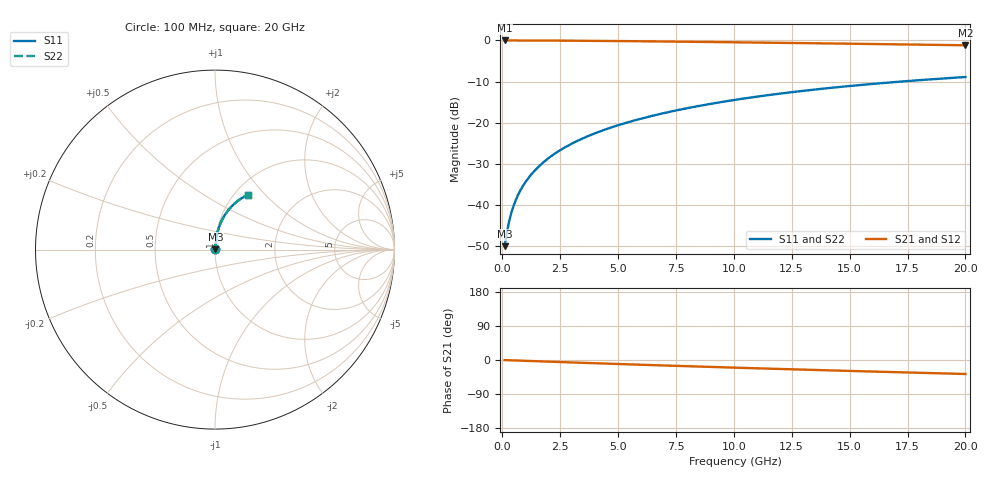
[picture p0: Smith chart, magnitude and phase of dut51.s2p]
! Touchstone file exported from HFSS 2024.1.0
!  File:  C:/UserFiles/LocalFiles/RDL_TSV_Batchsim/temp_RDL_bottom_51_1778692980.aedt
!  Generated:  01:25:32 AM May 14, 2026
!  Design:  RDL_bottom
!  Project:  temp_RDL_bottom_51_1778692980
!  Setup:  Setup1
!  Solution:  Sweep
! Variables:
!  dtsv = 10.80580581um
!  hbump = 3um
!  htsv = 95.76um
!  ldown = 514.95um
!  lrdl = 100um
!  p = 40
!  p1 = 46.85um
!  rhole = 1um
!  t = 450um
!  tdown = 4.33um
!  trdl = 3.915915916um
!  wdown = 18.19um
!  wrdl = 20um
# GHz S MA R 50.000000
! Terminal data exported
! Port[1] = RDL1_T1
! Port[2] = RDL1_T2
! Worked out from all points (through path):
!   200 points, 100 MHz to 20 GHz, reference 50 ohm
!   highest |S21| = -0.02 dB at 100 MHz (marker M1); lowest = -1.2 dB at 20 GHz (marker M2)
!   group delay of S21, straight-line fit = 5.1 ps
!   lowest |S11| = -50.0 dB at 100 MHz (marker M3), VSWR 1.01, Z = 50.2 + j0.2 ohm
!   |S11| at or under -10 dB: start of sweep to 17.24 GHz
!   |S22| runs from -50.0 to -8.9 dB; largest |S21 - S12| = 4.4e-15
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0.1  0.00316 39.0  0.9975 -0.2  0.9975 -0.2  0.00316 39.0
! Gamma 0 0 0 0
! Port Impedance 50 0 50 0
0.2  0.004695 57.1  0.9974 -0.4  0.9974 -0.4  0.004695 57.1
0.3  0.006435 65.5  0.9973 -0.7  0.9973 -0.7  0.006435 65.5
0.4  0.008218 70.1  0.9971 -0.9  0.9971 -0.9  0.008218 70.1
0.5  0.01001 73.0  0.997 -1.1  0.997 -1.1  0.01001 73.0
0.6  0.01179 75.1  0.9969 -1.3  0.9969 -1.3  0.01179 75.1
0.8  0.01537 77.8  0.9966 -1.8  0.9966 -1.8  0.01537 77.8
1.1  0.02076 80.1  0.9961 -2.4  0.9961 -2.4  0.02076 80.1
1.5  0.028 81.8  0.9954 -3.3  0.9954 -3.3  0.028 81.8
1.8  0.03347 82.5  0.9947 -3.9  0.9947 -3.9  0.03347 82.5
2.1  0.03897 82.9  0.9938 -4.5  0.9938 -4.5  0.03897 82.9
2.7  0.05002 83.2  0.9919 -5.8  0.9919 -5.8  0.05002 83.2
3.5  0.06488 83.1  0.9887 -7.5  0.9887 -7.5  0.06488 83.0
4.2  0.07799 82.6  0.9854 -8.9  0.9854 -8.9  0.07799 82.6
5  0.09307 81.9  0.9811 -10.6  0.9811 -10.6  0.09307 81.9
5.9  0.1102 81.0  0.9759 -12.4  0.9759 -12.4  0.1102 81.0
6.8  0.1273 79.8  0.9703 -14.1  0.9703 -14.1  0.1273 79.8
8.4  0.1579 77.6  0.9596 -17.2  0.9596 -17.2  0.1579 77.6
10.1  0.1902 75.0  0.9476 -20.3  0.9476 -20.3  0.1902 75.0
13.4  0.251 69.6  0.9231 -26.1  0.9231 -26.1  0.251 69.6
16.7  0.3075 64.1  0.8977 -31.7  0.8977 -31.7  0.3075 64.1
20  0.3587 58.8  0.8719 -36.9  0.8719 -36.9  0.3587 58.8
